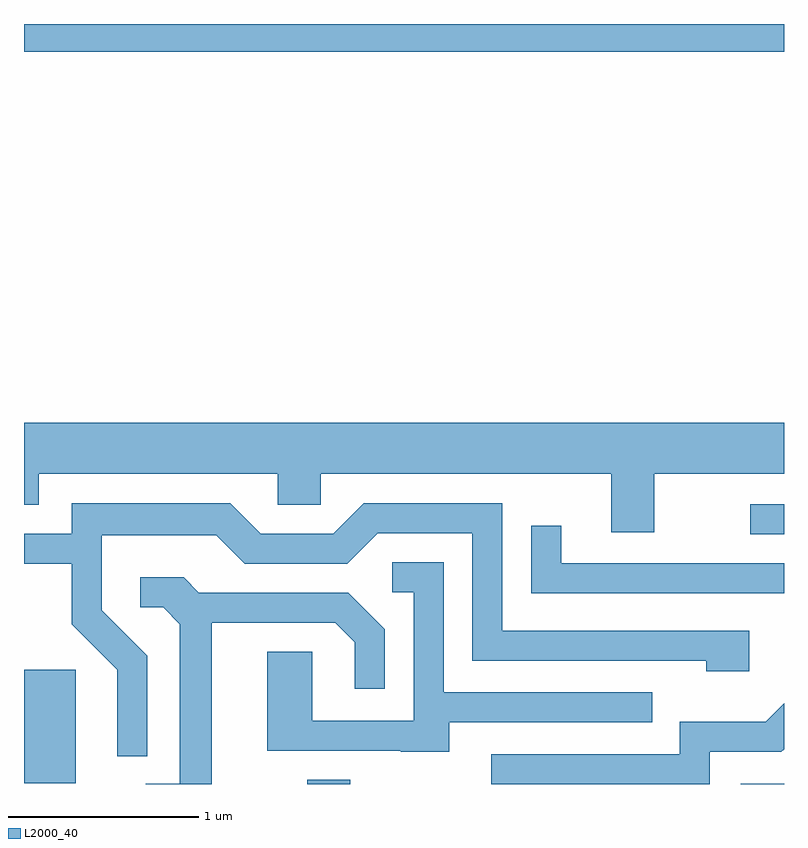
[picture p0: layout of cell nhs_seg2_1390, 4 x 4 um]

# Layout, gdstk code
import gdstk
lib = gdstk.Library(unit=1e-6, precision=1e-09)
def R(c, l, rs):  # rectangles x0, y0, x1, y1
    for r in rs: c.add(gdstk.rectangle(r[:2], r[2:], *l))
def P(c, l, *ps):  # polygons
    for p in ps: c.add(gdstk.Polygon(p, *l))
L2000_40 = (2000, 40)

nhs_seg2_1390 = lib.new_cell('nhs_seg2_1390')
R(nhs_seg2_1390, L2000_40, [(227.101,1037.802,227.329,1037.824), (229.383,1037.802,229.611,1037.804), (225.611,1037.806,225.884,1038.404), (229.433,1039.116,229.611,1039.274), (225.611,1041.656,229.611,1041.802)])
P(nhs_seg2_1390, L2000_40, [(228.929,1039.436),(229.611,1039.436),(229.611,1039.704),(225.611,1039.704),(225.611,1039.271),(225.689,1039.271),(225.689,1039.436),(226.946,1039.436),(226.946,1039.271),(227.174,1039.271),(227.174,1039.436),(228.701,1039.436),(228.701,1039.126),(228.929,1039.126)],
  [(226.259,1038.477),(226.019,1038.717),(226.019,1039.111),(226.624,1039.111),(226.774,1038.961),(227.312,1038.961),(227.472,1039.121),(227.971,1039.121),(227.971,1038.451),(229.201,1038.451),(229.201,1038.396),(229.429,1038.396),(229.429,1038.609),(228.129,1038.609),(228.129,1039.279),(227.399,1039.279),(227.239,1039.119),(226.857,1039.119),(226.697,1039.279),(225.861,1039.279),(225.861,1039.119),(225.611,1039.119),(225.611,1038.961),(225.861,1038.961),(225.861,1038.644),(226.101,1038.404),(226.101,1037.948),(226.259,1037.948)],
  [(229.611,1038.964),(228.439,1038.964),(228.439,1039.162),(228.281,1039.162),(228.281,1038.806),(229.611,1038.806)],
  [(227.849,1038.126),(228.918,1038.126),(228.918,1038.284),(227.819,1038.284),(227.819,1038.969),(227.548,1038.969),(227.548,1038.811),(227.661,1038.811),(227.661,1038.134),(227.129,1038.134),(227.129,1038.499),(226.891,1038.499),(226.891,1037.976),(227.595,1037.976),(227.595,1037.971),(227.849,1037.971)],
  [(226.599,1038.651),(227.249,1038.651),(227.351,1038.549),(227.351,1038.303),(227.509,1038.303),(227.509,1038.617),(227.317,1038.809),(226.532,1038.809),(226.452,1038.889),(226.223,1038.889),(226.223,1038.731),(226.344,1038.731),(226.431,1038.644),(226.431,1037.804),(226.253,1037.804),(226.253,1037.802),(226.599,1037.802)],
  [(229.219,1037.971),(229.597,1037.971),(229.611,1037.985),(229.611,1038.227),(229.514,1038.129),(229.061,1038.129),(229.061,1037.959),(228.071,1037.959),(228.071,1037.802),(229.219,1037.802)])

lib.write_gds('nhs_seg2_1390.gds')
